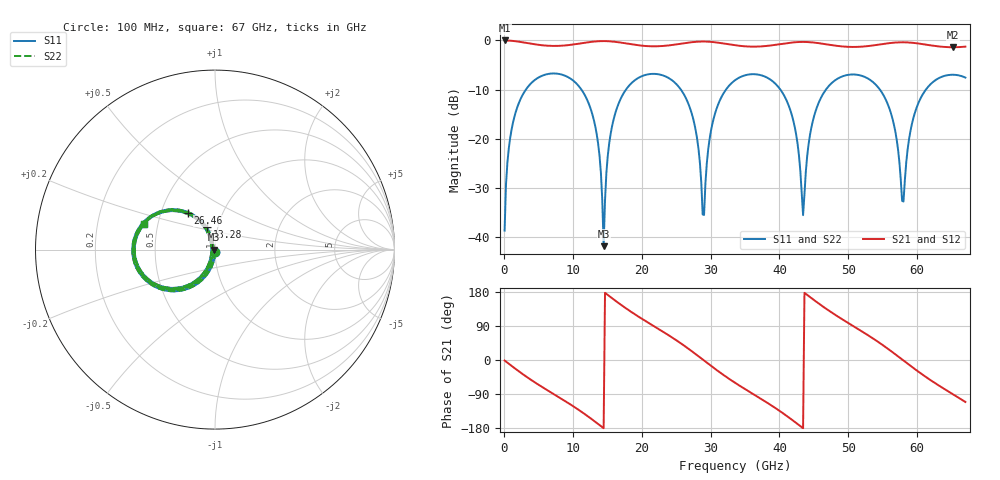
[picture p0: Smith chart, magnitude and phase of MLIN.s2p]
! Touchstone Ver. 1.0
! Number of ports is 2
# Hz  S RI  R  50
! SCATTERING PARAMETERS  :
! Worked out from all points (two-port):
!   336 points, 100 MHz to 67 GHz, reference 50 ohm
!   highest |S21| = -0.03 dB at 100 MHz (marker M1); lowest = -1.4 dB at 65.2 GHz (marker M2)
!   |S21| within 3 dB of the highest: start of sweep to end of sweep
!   lowest |S11| = -41.8 dB at 14.48 GHz (marker M3), VSWR 1.02, Z = 49.2 + j0.00489 ohm
!   |S11| at or under -10 dB: 11.25 GHz to 17.72 GHz (6.473 GHz wide, 44.7 % of centre); 40.13 GHz to 46.75 GHz (6.62 GHz wide, 15.2 % of centre); 54.58 GHz to 61.27 GHz (6.683 GHz wide, 11.5 % of centre)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
!   |S22| runs from -41.8 to -6.7 dB; largest |S21 - S12| = 0
!   S11 on the Smith chart (normalised r, x): 100 MHz: 1.00, -0.02; 13.28 GHz: 0.89, +0.22; 26.46 GHz: 0.68, +0.30; 67 GHz: 0.42, +0.14
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1e8  0.00246 -0.0114  0.9968 -0.0245  0.9968 -0.0245  0.00246 -0.0114
8.98806e8  -0.0199 -0.099  0.9679 -0.2162  0.9679 -0.2162  -0.0199 -0.099
2.696119e9  -0.165 -0.223  0.7654 -0.5732  0.7654 -0.5732  -0.165 -0.223
1.128328e10  -0.2193 0.2246  -0.6828 -0.6382  -0.6828 -0.6382  -0.2193 0.2246
1.32803e10  -0.0454 0.1238  -0.9337 -0.2796  -0.9337 -0.2796  -0.0454 0.1238
1.447851e10  -0.00813 4.97e-05  -0.9826 -0.000173  -0.9826 -0.000173  -0.00813 4.97e-05
1.507761e10  -0.0176 -0.0648  -0.9696 0.1425  -0.9696 0.1425  -0.0176 -0.0648
1.627582e10  -0.0872 -0.1716  -0.8743 0.4042  -0.8743 0.4042  -0.0872 -0.1716
2.246657e10  -0.4474 0.0625  0.1261 0.8621  0.1261 0.8621  -0.4474 0.0625
2.64606e10  -0.1517 0.2054  0.7799 0.5272  0.7799 0.5272  -0.1517 0.2054
2.905672e10  -0.0131 -0.0106  0.9719 -0.0232  0.9719 -0.0232  -0.0131 -0.0106
3.025493e10  -0.055 -0.1297  0.9151 -0.2968  0.9151 -0.2968  -0.055 -0.1297
3.364985e10  -0.3516 -0.1863  0.4286 -0.7797  0.4286 -0.7797  -0.3516 -0.1863
4.08391e10  -0.1623 0.2056  -0.7599 -0.5386  -0.7599 -0.5386  -0.1623 0.2056
4.343522e10  -0.0168 0.000276  -0.9636 -0.000644  -0.9636 -0.000644  -0.0168 0.000276
4.483313e10  -0.0644 -0.1355  -0.8987 0.3145  -0.8987 0.3145  -0.0644 -0.1355
5.022507e10  -0.4471 -0.0381  -0.075 0.8545  -0.075 0.8545  -0.4471 -0.0381
5.601642e10  -0.1032 0.1694  0.8419 0.4122  0.8419 0.4122  -0.1032 0.1694
5.801343e10  -0.0208 -0.01  0.9548 -0.0223  0.9548 -0.0223  -0.0208 -0.01
6.001045e10  -0.1191 -0.1799  0.8178 -0.4466  0.8178 -0.4466  -0.1191 -0.1799
6.520269e10  -0.4474 0.00355  -0.00765 -0.8507  -0.00765 -0.8507  -0.4474 0.00355
6.7e10  -0.394 0.1402  -0.3054 -0.8072  -0.3054 -0.8072  -0.394 0.1402
